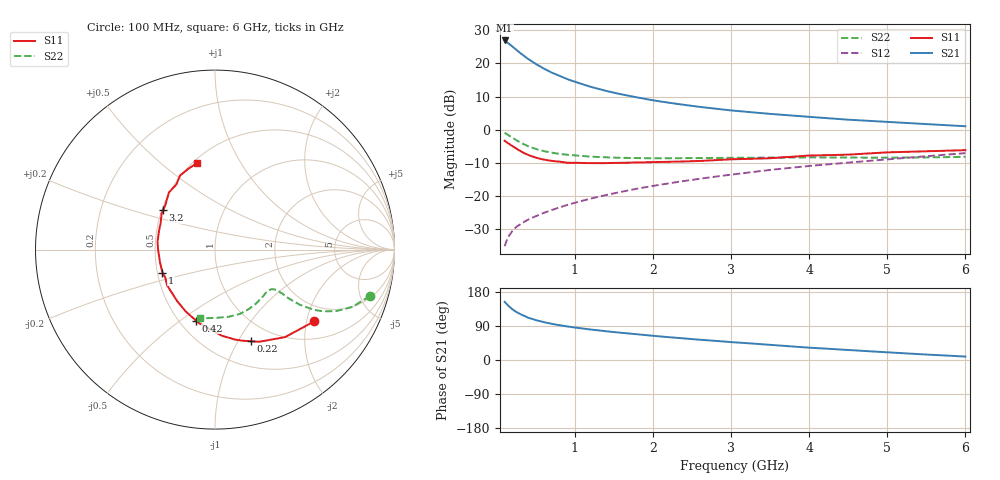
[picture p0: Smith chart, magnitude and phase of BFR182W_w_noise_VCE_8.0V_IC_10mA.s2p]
! Infineon Technologies  Discrete & RF Semiconductors
! BFR182W
! VCE =  8.0 V,  IC =  10 mA
! Common Emitter S-Parameters:  Nov 2015
# GHz  S  MA  R  50
!  f  S11  S21  S12  S22
! GHz  MAG  ANG  MAG  ANG  MAG  ANG  MAG  ANG
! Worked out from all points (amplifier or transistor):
!   192 points, 100 MHz to 6 GHz, reference 50 ohm
!   highest |S21| = 26.9 dB at 100 MHz (marker M1)
!   |S21| within 3 dB of that: start of sweep to 259.7 MHz
!   unconditionally stable (mu >= 1): 1.126 GHz to 2.823 GHz
!   at 440 MHz: K = 0.70, MSG = 23.7 dB, |S12| = -26.7 dB
!   at 1.7 GHz: K = 1.05, MAG = 12.9 dB, |S12| = -18.2 dB
!   at 6 GHz: K = 0.79, MSG = 4.1 dB, |S12| = -7.0 dB
!   lowest NFmin = 1.50 dB at 450 MHz
!   S11 on the Smith chart (normalised r, x): 100 MHz: 1.48, -2.22; 220 MHz: 0.77, -1.13; 420 MHz: 0.60, -0.57; 1 GHz: 0.53, -0.15; 3.2 GHz: 0.51, +0.26; 6 GHz: 0.53, +0.67
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0.1  0.6824 -35.9  22.2 153.4  0.0176 73.1  0.9011 -16.7
0.15  0.6246 -51.3  20.07 142.6  0.0246 68.3  0.83 -22.6
0.2  0.5692 -64.5  17.99 133.7  0.0299 64.4  0.7589 -26.8
0.22  0.5475 -68.8  17.18 131.1  0.0317 63.4  0.733 -27.9
0.26  0.5123 -77.7  15.7 125.5  0.035 61.8  0.6845 -30.0
0.3  0.4814 -85.4  14.35 120.8  0.0377 60.5  0.6439 -31.4
0.4  0.4188 -102.5  11.7 111.6  0.0441 59.8  0.5644 -33.0
0.42  0.4097 -104.9  11.31 110.5  0.0453 59.8  0.554 -33.1
0.5  0.381 -115.4  9.806 105.1  0.0499 60.0  0.5125 -33.4
0.64  0.3486 -129.9  7.952 98.2  0.0581 61.5  0.4667 -33.4
0.7  0.3401 -135.3  7.301 95.4  0.0615 62.1  0.452 -33.2
0.8  0.3321 -143.6  6.487 91.8  0.0672 63.2  0.4336 -33.3
1  0.3194 -156.4  5.283 85.6  0.0793 64.9  0.4102 -33.4
1.1  0.3157 -161.5  4.86 83.2  0.0854 65.4  0.4019 -33.7
1.2  0.3146 -166.6  4.447 80.4  0.0916 65.8  0.3937 -34.1
1.5  0.3167 -178.0  3.614 73.6  0.1102 66.9  0.3806 -36.0
2.08  0.3265 164.7  2.689 62.4  0.1477 67.3  0.372 -41.2
3.1  0.3609 144.4  1.91 45.9  0.2182 65.1  0.3779 -54.5
3.2  0.3633 142.7  1.865 44.5  0.2257 64.7  0.3783 -56.0
4.1  0.4112 127.1  1.535 31.4  0.2916 60.6  0.3829 -70.7
5.1  0.4595 113.8  1.293 19.0  0.3661 55.2  0.38 -88.5
6  0.4927 101.6  1.13 9.0  0.4442 50.0  0.392 -102.7
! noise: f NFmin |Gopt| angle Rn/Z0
0.45  1.5  0.26  43  0.28
0.9  1.6  0.24  87  0.22
1.8  2.1  0.2  170  0.2
